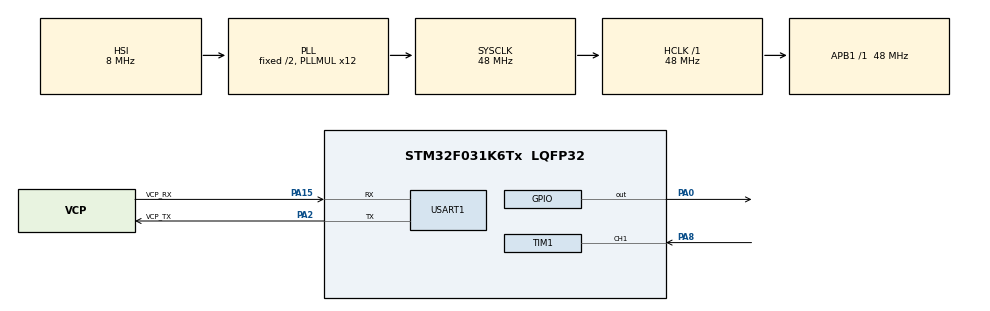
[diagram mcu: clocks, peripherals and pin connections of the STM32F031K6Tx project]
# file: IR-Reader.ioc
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Mcu.Family=STM32F0
Mcu.Name=STM32F031K6Tx
Mcu.Package=LQFP32
NVIC.TIM1_CC_IRQn=true\:0\:0\:false\:false\:true\:true\:true
PA0.GPIO_ModeDefaultOutputPP=GPIO_MODE_OUTPUT_OD
PA0.GPIO_PuPd=GPIO_NOPULL
PA0.GPIO_Speed=GPIO_SPEED_FREQ_HIGH
PA0.PinState=GPIO_PIN_SET
PA0.Signal=GPIO_Output
PA13.GPIO_Label=SWDIO
PA13.Mode=Serial_Wire
PA13.Signal=SYS_SWDIO
PA14.GPIO_Label=SWCLK
PA14.Mode=Serial_Wire
PA14.Signal=SYS_SWCLK
PA15.GPIO_Label=VCP_RX
PA15.Mode=Asynchronous
PA15.Signal=USART1_RX
PA2.GPIO_Label=VCP_TX
PA2.Mode=Asynchronous
PA2.Signal=USART1_TX
PA8.Signal=S_TIM1_CH1
PF0-OSC_IN.Mode=HSE-External-Clock-Source
PF0-OSC_IN.Signal=RCC_OSC_IN
ProjectManager.HeapSize=0x200
ProjectManager.StackSize=0x400
ProjectManager.TargetToolchain=STM32CubeIDE
RCC.AHBFreq_Value=48000000
RCC.APB1Freq_Value=48000000
RCC.APB1TimFreq_Value=48000000
RCC.HCLKFreq_Value=48000000
RCC.HSE_VALUE=32000000
RCC.PLLMUL=RCC_PLL_MUL12
RCC.SYSCLKFreq_VALUE=48000000
RCC.SYSCLKSource=RCC_SYSCLKSOURCE_PLLCLK
SH.S_TIM1_CH1.0=TIM1_CH1,Input_Capture1_from_TI1
TIM1.Channel-Input_Capture1_from_TI1=TIM_CHANNEL_1
TIM1.ICPolarity_CH1=TIM_INPUTCHANNELPOLARITY_FALLING
TIM1.Period=65535
TIM1.Prescaler=48
TIM2.Period=65535
TIM2.Prescaler=48
USART1.VirtualMode-Asynchronous=VM_ASYNC
VP_TIM1_VS_ClockSourceINT.Mode=Internal
VP_TIM2_VS_ClockSourceINT.Mode=Internal
board=NUCLEO-F031K6

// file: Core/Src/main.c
/* USER CODE BEGIN Header */
/**
  ******************************************************************************
  * @file           : main.c
  * @brief          : Main program body
  ******************************************************************************
  * @attention
  *
  * <h2><center>&copy; Copyright (c) 2020 STMicroelectronics.
  * All rights reserved.</center></h2>
  *
  * This software component is licensed by ST under BSD 3-Clause license,
  * the "License"; You may not use this file except in compliance with the
  * License. You may obtain a copy of the License at:
  *                        opensource.org/licenses/BSD-3-Clause
  *
  ******************************************************************************
  */
/* USER CODE END Header */

#include "main.h"

TIM_HandleTypeDef htim1;
TIM_HandleTypeDef htim2;

UART_HandleTypeDef huart1;

/* USER CODE BEGIN PV */

extern uint32_t ir_on;

/* USER CODE END PV */

void SystemClock_Config(void);
static void MX_GPIO_Init(void);
static void MX_USART1_UART_Init(void);
static void MX_TIM1_Init(void);
static void MX_TIM2_Init(void);

/* USER CODE BEGIN 0 */

void transmit_ir(uint32_t data) {
	HAL_GPIO_WritePin(GPIOA, GPIO_PIN_0, GPIO_PIN_RESET);

	htim2.Instance->CNT = 0;
	while (htim2.Instance->CNT < 9000) ;

	HAL_GPIO_WritePin(GPIOA, GPIO_PIN_0, GPIO_PIN_SET);

	htim2.Instance->CNT = 0;
	while (htim2.Instance->CNT < 4500) ;

	for (uint32_t i = 0; i < 32; i++) {
		HAL_GPIO_WritePin(GPIOA, GPIO_PIN_0, GPIO_PIN_RESET);

		htim2.Instance->CNT = 0;
		while (htim2.Instance->CNT < 562) ;

		HAL_GPIO_WritePin(GPIOA, GPIO_PIN_0, GPIO_PIN_SET);

		htim2.Instance->CNT = 0;

		if ((data & 0x1) == 1) {
			while (htim2.Instance->CNT < 1687) ;
		} else {
			while (htim2.Instance->CNT < 562) ;
		}

		data >>= 1;
	}

	HAL_GPIO_WritePin(GPIOA, GPIO_PIN_0, GPIO_PIN_RESET);

	htim2.Instance->CNT = 0;
	while (htim2.Instance->CNT < 562) ;

	HAL_GPIO_WritePin(GPIOA, GPIO_PIN_0, GPIO_PIN_SET);
}

/* USER CODE END 0 */

int main(void)
{

  /* MCU Configuration--------------------------------------------------------*/

  /* Reset of all peripherals, Initializes the Flash interface and the Systick. */
  HAL_Init();

  /* Configure the system clock */
  SystemClock_Config();

  /* Initialize all configured peripherals */
  MX_GPIO_Init();
  MX_USART1_UART_Init();
  MX_TIM1_Init();
  MX_TIM2_Init();

  /* Infinite loop */
  while (1)
  {

    /* USER CODE BEGIN 3 */

	  // UP:    0xff00ef00
	  // DOWN:  0xfe01ef00
	  // OFF:   0xfd02ef00
	  // ON:    0xfc03ef00
	  // RED:   0xfb04ef00
	  // GREEN: 0xfa05ef00
	  // BLUE:  0xf906ef00
	  // WHITE: 0xf807ef00
	  // LILA:  0xf10eef00
	  // PINK:  0xe916ef00
	  // FADE:  0xec13ef00

	  transmit_ir(0xfd02ef00);
	  HAL_Delay(2000);

	  transmit_ir(0xfc03ef00);
	  HAL_Delay(2000);

	  transmit_ir(0xfb04ef00);
	  HAL_Delay(2000);

	  transmit_ir(0xfa05ef00);
	  HAL_Delay(2000);

	  transmit_ir(0xf906ef00);
	  HAL_Delay(2000);

	  transmit_ir(0xf807ef00);
	  HAL_Delay(2000);

	  transmit_ir(0xf10eef00);
	  HAL_Delay(2000);

	  transmit_ir(0xe916ef00);
	  HAL_Delay(2000);

	  transmit_ir(0xec13ef00);
	  HAL_Delay(5000);

  }
  /* USER CODE END 3 */
}

void SystemClock_Config(void)
{
  RCC_OscInitTypeDef RCC_OscInitStruct = {0};
  RCC_ClkInitTypeDef RCC_ClkInitStruct = {0};
  RCC_PeriphCLKInitTypeDef PeriphClkInit = {0};

  /** Initializes the CPU, AHB and APB busses clocks
  */
  RCC_OscInitStruct.OscillatorType = RCC_OSCILLATORTYPE_HSI;
  RCC_OscInitStruct.HSIState = RCC_HSI_ON;
  RCC_OscInitStruct.HSICalibrationValue = RCC_HSICALIBRATION_DEFAULT;
  RCC_OscInitStruct.PLL.PLLState = RCC_PLL_ON;
  RCC_OscInitStruct.PLL.PLLSource = RCC_PLLSOURCE_HSI;
  RCC_OscInitStruct.PLL.PLLMUL = RCC_PLL_MUL12;
  RCC_OscInitStruct.PLL.PREDIV = RCC_PREDIV_DIV1;
  if (HAL_RCC_OscConfig(&RCC_OscInitStruct) != HAL_OK)
  {
    Error_Handler();
  }
  /** Initializes the CPU, AHB and APB busses clocks
  */
  RCC_ClkInitStruct.ClockType = RCC_CLOCKTYPE_HCLK|RCC_CLOCKTYPE_SYSCLK
                              |RCC_CLOCKTYPE_PCLK1;
  RCC_ClkInitStruct.SYSCLKSource = RCC_SYSCLKSOURCE_PLLCLK;
  RCC_ClkInitStruct.AHBCLKDivider = RCC_SYSCLK_DIV1;
  RCC_ClkInitStruct.APB1CLKDivider = RCC_HCLK_DIV1;

  if (HAL_RCC_ClockConfig(&RCC_ClkInitStruct, FLASH_LATENCY_1) != HAL_OK)
  {
    Error_Handler();
  }
  PeriphClkInit.PeriphClockSelection = RCC_PERIPHCLK_USART1;
  PeriphClkInit.Usart1ClockSelection = RCC_USART1CLKSOURCE_PCLK1;
  if (HAL_RCCEx_PeriphCLKConfig(&PeriphClkInit) != HAL_OK)
  {
    Error_Handler();
  }
}

static void MX_TIM1_Init(void)
{

  TIM_ClockConfigTypeDef sClockSourceConfig = {0};
  TIM_MasterConfigTypeDef sMasterConfig = {0};
  TIM_IC_InitTypeDef sConfigIC = {0};

  htim1.Instance = TIM1;
  htim1.Init.Prescaler = 48;
  htim1.Init.CounterMode = TIM_COUNTERMODE_UP;
  htim1.Init.Period = 65535;
  htim1.Init.ClockDivision = TIM_CLOCKDIVISION_DIV1;
  htim1.Init.RepetitionCounter = 0;
  htim1.Init.AutoReloadPreload = TIM_AUTORELOAD_PRELOAD_DISABLE;
  if (HAL_TIM_Base_Init(&htim1) != HAL_OK)
  {
    Error_Handler();
  }
  sClockSourceConfig.ClockSource = TIM_CLOCKSOURCE_INTERNAL;
  if (HAL_TIM_ConfigClockSource(&htim1, &sClockSourceConfig) != HAL_OK)
  {
    Error_Handler();
  }
  if (HAL_TIM_IC_Init(&htim1) != HAL_OK)
  {
    Error_Handler();
  }
  sMasterConfig.MasterOutputTrigger = TIM_TRGO_RESET;
  sMasterConfig.MasterSlaveMode = TIM_MASTERSLAVEMODE_DISABLE;
  if (HAL_TIMEx_MasterConfigSynchronization(&htim1, &sMasterConfig) != HAL_OK)
  {
    Error_Handler();
  }
  sConfigIC.ICPolarity = TIM_INPUTCHANNELPOLARITY_FALLING;
  sConfigIC.ICSelection = TIM_ICSELECTION_DIRECTTI;
  sConfigIC.ICPrescaler = TIM_ICPSC_DIV1;
  sConfigIC.ICFilter = 0;
  if (HAL_TIM_IC_ConfigChannel(&htim1, &sConfigIC, TIM_CHANNEL_1) != HAL_OK)
  {
    Error_Handler();
  }
  /* USER CODE BEGIN TIM1_Init 2 */

  HAL_TIM_Base_Start(&htim1);
  HAL_TIM_IC_Start_IT(&htim1, TIM_CHANNEL_1);

  /* USER CODE END TIM1_Init 2 */

}

static void MX_TIM2_Init(void)
{

  TIM_ClockConfigTypeDef sClockSourceConfig = {0};
  TIM_MasterConfigTypeDef sMasterConfig = {0};

  htim2.Instance = TIM2;
  htim2.Init.Prescaler = 48;
  htim2.Init.CounterMode = TIM_COUNTERMODE_UP;
  htim2.Init.Period = 65535;
  htim2.Init.ClockDivision = TIM_CLOCKDIVISION_DIV1;
  htim2.Init.AutoReloadPreload = TIM_AUTORELOAD_PRELOAD_DISABLE;
  if (HAL_TIM_Base_Init(&htim2) != HAL_OK)
  {
    Error_Handler();
  }
  sClockSourceConfig.ClockSource = TIM_CLOCKSOURCE_INTERNAL;
  if (HAL_TIM_ConfigClockSource(&htim2, &sClockSourceConfig) != HAL_OK)
  {
    Error_Handler();
  }
  sMasterConfig.MasterOutputTrigger = TIM_TRGO_RESET;
  sMasterConfig.MasterSlaveMode = TIM_MASTERSLAVEMODE_DISABLE;
  if (HAL_TIMEx_MasterConfigSynchronization(&htim2, &sMasterConfig) != HAL_OK)
  {
    Error_Handler();
  }
  /* USER CODE BEGIN TIM2_Init 2 */

  HAL_TIM_Base_Start(&htim2);

  /* USER CODE END TIM2_Init 2 */

}

static void MX_USART1_UART_Init(void)
{

  huart1.Instance = USART1;
  huart1.Init.BaudRate = 38400;
  huart1.Init.WordLength = UART_WORDLENGTH_8B;
  huart1.Init.StopBits = UART_STOPBITS_1;
  huart1.Init.Parity = UART_PARITY_NONE;
  huart1.Init.Mode = UART_MODE_TX_RX;
  huart1.Init.HwFlowCtl = UART_HWCONTROL_NONE;
  huart1.Init.OverSampling = UART_OVERSAMPLING_16;
  huart1.Init.OneBitSampling = UART_ONE_BIT_SAMPLE_DISABLE;
  huart1.AdvancedInit.AdvFeatureInit = UART_ADVFEATURE_NO_INIT;
  if (HAL_UART_Init(&huart1) != HAL_OK)
  {
    Error_Handler();
  }

}

static void MX_GPIO_Init(void)
{
  GPIO_InitTypeDef GPIO_InitStruct = {0};

  /* GPIO Ports Clock Enable */
  __HAL_RCC_GPIOF_CLK_ENABLE();
  __HAL_RCC_GPIOA_CLK_ENABLE();

  /*Configure GPIO pin Output Level */
  HAL_GPIO_WritePin(GPIOA, GPIO_PIN_0, GPIO_PIN_SET);

  /*Configure GPIO pin : PA0 */
  GPIO_InitStruct.Pin = GPIO_PIN_0;
  GPIO_InitStruct.Mode = GPIO_MODE_OUTPUT_OD;
  GPIO_InitStruct.Pull = GPIO_NOPULL;
  GPIO_InitStruct.Speed = GPIO_SPEED_FREQ_HIGH;
  HAL_GPIO_Init(GPIOA, &GPIO_InitStruct);

}

void Error_Handler(void)
{
}

/************************ (C) COPYRIGHT STMicroelectronics *****END OF FILE****/
